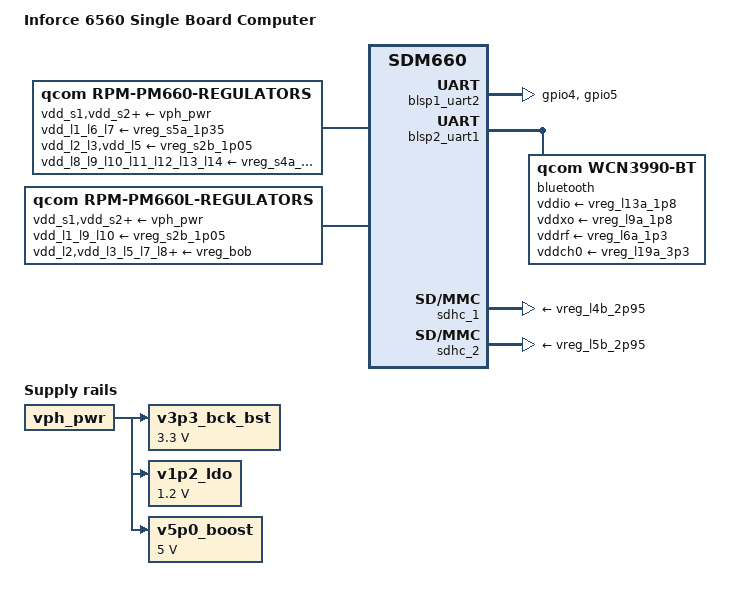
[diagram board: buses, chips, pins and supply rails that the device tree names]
// SPDX-License-Identifier: BSD-3-Clause
/*
 * Copyright (c) 2021, Linaro Ltd.
 * Copyright (c) 2020, Konrad Dybcio <konrad.dybcio@somainline.org>
 * Copyright (c) 2020, AngeloGioacchino Del Regno
 *                     <angelogioacchino.delregno@somainline.org>
 */

/dts-v1/;

#include "sdm660.dtsi"
#include "pm660.dtsi"
#include "pm660l.dtsi"

/ {
	model = "Inforce 6560 Single Board Computer";
	compatible = "inforce,ifc6560", "qcom,sdm660";

	aliases {
		serial0 = &blsp1_uart2;
		serial1 = &blsp2_uart1;
	};

	chosen {
		stdout-path = "serial0:115200n8";
	};

	reserved-memory {
		#address-cells = <2>;
		#size-cells = <2>;
		ranges;
	};

	vph_pwr: vph-pwr-regulator {
		compatible = "regulator-fixed";
		regulator-name = "vph_pwr";
	};

	v3p3_bck_bst: v3p3-bck-bst-regulator {
		compatible = "regulator-fixed";
		regulator-name = "v3p3_bck_bst";

		regulator-min-microvolt = <3300000>;
		regulator-max-microvolt = <3300000>;

		vin-supply = <&vph_pwr>;
	};

	v1p2_ldo: v1p2-ldo-regulator {
		compatible = "regulator-fixed";
		regulator-name = "v1p2_ldo";

		regulator-min-microvolt = <1200000>;
		regulator-max-microvolt = <1200000>;

		vin-supply = <&vph_pwr>;
	};

	v5p0_boost: v5p0-boost-regulator {
		compatible = "regulator-fixed";
		regulator-name = "v5p0_boost";

		regulator-min-microvolt = <5000000>;
		regulator-max-microvolt = <5000000>;

		vin-supply = <&vph_pwr>;
	};
};

&adsp_pil {
	firmware-name = "qcom/inforce/ifc6560/adsp.mbn";
};

&blsp1_uart2 {
	status = "okay";
	pinctrl-names = "default";
	pinctrl-0 = <&uart_active>;
};

&blsp2_uart1 {
	status = "okay";

	bluetooth {
		compatible = "qcom,wcn3990-bt";

		vddio-supply = <&vreg_l13a_1p8>;
		vddxo-supply = <&vreg_l9a_1p8>;
		vddrf-supply = <&vreg_l6a_1p3>;
		vddch0-supply = <&vreg_l19a_3p3>;
		max-speed = <3200000>;
	};
};

&rpm_requests {
	pm660-regulators {
		compatible = "qcom,rpm-pm660-regulators";

		vdd_s1-supply = <&vph_pwr>;
		vdd_s2-supply = <&vph_pwr>;
		vdd_s3-supply = <&vph_pwr>;
		vdd_s4-supply = <&vph_pwr>;
		vdd_s5-supply = <&vph_pwr>;
		vdd_s6-supply = <&vph_pwr>;

		vdd_l1_l6_l7-supply = <&vreg_s5a_1p35>;
		vdd_l2_l3-supply = <&vreg_s2b_1p05>;
		vdd_l5-supply = <&vreg_s2b_1p05>;
		vdd_l8_l9_l10_l11_l12_l13_l14-supply = <&vreg_s4a_2p04>;
		vdd_l15_l16_l17_l18_l19-supply = <&vreg_bob>;

		vreg_s4a_2p04: s4 {
			regulator-min-microvolt = <2040000>;
			regulator-max-microvolt = <2040000>;
			regulator-enable-ramp-delay = <200>;
			regulator-ramp-delay = <0>;
			regulator-always-on;
		};

		vreg_s5a_1p35: s5 {
			regulator-min-microvolt = <1224000>;
			regulator-max-microvolt = <1350000>;
			regulator-enable-ramp-delay = <200>;
			regulator-ramp-delay = <0>;
		};

		vreg_l6a_1p3: l6 {
			regulator-min-microvolt = <1304000>;
			regulator-max-microvolt = <1368000>;
			regulator-allow-set-load;
			regulator-enable-ramp-delay = <250>;
			regulator-ramp-delay = <0>;
		};

		vreg_l8a_1p8: l8 {
			regulator-min-microvolt = <1800000>;
			regulator-max-microvolt = <1800000>;
			regulator-enable-ramp-delay = <250>;
			regulator-ramp-delay = <0>;
			regulator-system-load = <325000>;
			regulator-allow-set-load;
		};

		vreg_l9a_1p8: l9 {
			regulator-min-microvolt = <1804000>;
			regulator-max-microvolt = <1896000>;
			regulator-enable-ramp-delay = <250>;
			regulator-ramp-delay = <0>;
			regulator-allow-set-load;
		};

		vreg_l13a_1p8: l13 {
			/* This gives power to the LPDDR4: never turn it off! */
			regulator-min-microvolt = <1800000>;
			regulator-max-microvolt = <1944000>;
			regulator-enable-ramp-delay = <250>;
			regulator-ramp-delay = <0>;
			regulator-boot-on;
			regulator-always-on;
		};

		vreg_l19a_3p3: l19 {
			regulator-min-microvolt = <3312000>;
			regulator-max-microvolt = <3400000>;
			regulator-enable-ramp-delay = <250>;
			regulator-ramp-delay = <0>;
			regulator-allow-set-load;
		};
	};

	pm660l-regulators {
		compatible = "qcom,rpm-pm660l-regulators";

		vdd_s1-supply = <&vph_pwr>;
		vdd_s2-supply = <&vph_pwr>;
		vdd_s3_s4-supply = <&vph_pwr>;
		vdd_s5-supply = <&vph_pwr>;
		vdd_s6-supply = <&vph_pwr>;

		vdd_l1_l9_l10-supply = <&vreg_s2b_1p05>;
		vdd_l2-supply = <&vreg_bob>;
		vdd_l3_l5_l7_l8-supply = <&vreg_bob>;
		vdd_l4_l6-supply = <&vreg_bob>;
		vdd_bob-supply = <&vph_pwr>;

		vreg_s2b_1p05: s2 {
			regulator-min-microvolt = <1050000>;
			regulator-max-microvolt = <1050000>;
			regulator-enable-ramp-delay = <200>;
			regulator-ramp-delay = <0>;
		};

		vreg_l2b_2p95: l2 {
			/*
			 * This regulator supports 1.648 - 3.104V on this board
			 * but we set a max voltage of anything less than 2.7V
			 * to satisfy a condition in sdhci.c that will disable
			 * 3.3V SDHCI signaling, which happens to be not really
			 * supported on the Xperia Nile/Ganges platform.
			 */
			regulator-min-microvolt = <1648000>;
			regulator-max-microvolt = <2696000>;
			regulator-enable-ramp-delay = <250>;
			regulator-ramp-delay = <0>;
			regulator-allow-set-load;
		};

		vreg_l4b_2p95: l4 {
			regulator-min-microvolt = <2944000>;
			regulator-max-microvolt = <2952000>;
			regulator-enable-ramp-delay = <250>;
			regulator-ramp-delay = <0>;

			regulator-min-microamp = <200>;
			regulator-max-microamp = <600000>;
			regulator-system-load = <570000>;
			regulator-allow-set-load;
		};

		vreg_l5b_2p95: l5 {
			/*
			 * Downstream specifies a range of 1721-3600mV,
			 * but the only assigned consumers are SDHCI2 VMMC
			 * and Coresight QPDI that both request pinned 2.95V.
			 * Tighten the range to 1.8-3.328 (closest to 3.3) to
			 * make the mmc driver happy.
			 */
			regulator-min-microvolt = <1800000>;
			regulator-max-microvolt = <3328000>;
			regulator-enable-ramp-delay = <250>;
			regulator-ramp-delay = <0>;
			regulator-allow-set-load;
			regulator-system-load = <800000>;
		};

		vreg_l8b_3p3: l8 {
			regulator-min-microvolt = <2800000>;
			regulator-max-microvolt = <3400000>;
			regulator-enable-ramp-delay = <250>;
			regulator-ramp-delay = <0>;
		};

		vreg_bob: bob {
			regulator-min-microvolt = <3304000>;
			regulator-max-microvolt = <3624000>;
			regulator-enable-ramp-delay = <500>;
			regulator-ramp-delay = <0>;
		};
	};
};

&sdhc_1 {
	status = "okay";
	supports-cqe;

	mmc-ddr-1_8v;
	mmc-hs400-1_8v;
	mmc-hs400-enhanced-strobe;

	vmmc-supply = <&vreg_l4b_2p95>;
	vqmmc-supply = <&vreg_l8a_1p8>;
};

&sdhc_2 {
	status = "okay";

	vmmc-supply = <&vreg_l5b_2p95>;
	vqmmc-supply = <&vreg_l2b_2p95>;
};

&tlmm {
	gpio-reserved-ranges = <0 4>, <8 4>;

	uart_active: uart-active-state {
		pins = "gpio4", "gpio5";
		function = "blsp_uart2";
		drive-strength = <2>;
		bias-disable;
	};
};
